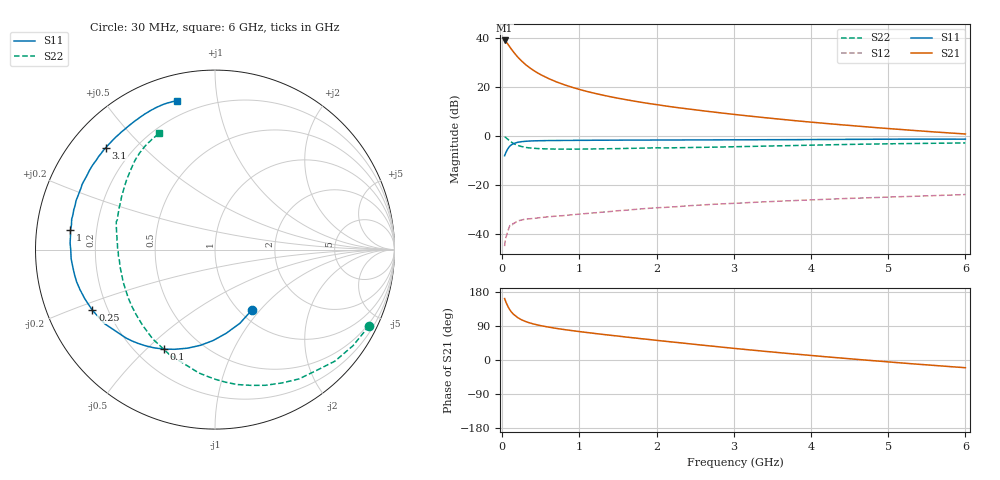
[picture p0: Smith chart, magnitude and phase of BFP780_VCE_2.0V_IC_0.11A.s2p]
! Infineon Technologies  Discrete & RF Semiconductors
! BFP780
! VCE =  2.0 V,  IC = 0.11 A
! Common Emitter S-Parameters:  Jul 2015
# GHz  S  MA  R  50
!  f  S11  S21  S12  S22
! GHz  MAG  ANG  MAG  ANG  MAG  ANG  MAG  ANG
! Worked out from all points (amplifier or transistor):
!   75 points, 30 MHz to 6 GHz, reference 50 ohm
!   highest |S21| = 38.8 dB at 30 MHz (marker M1)
!   |S21| within 3 dB of that: start of sweep to 105.7 MHz
!   unconditionally stable (mu >= 1): 1.686 GHz to end of sweep
!   at 150 MHz: K = 0.16, MSG = 34.8 dB, |S12| = -35.7 dB
!   at 2.3 GHz: K = 1.13, MAG = 17.9 dB, |S12| = -28.7 dB
!   at 6 GHz: K = 1.35, MAG = 8.8 dB, |S12| = -23.9 dB
!   S11 on the Smith chart (normalised r, x): 30 MHz: 1.13, -0.90; 100 MHz: 0.31, -0.57; 250 MHz: 0.14, -0.23; 1 GHz: 0.10, +0.07; 3.1 GHz: 0.11, +0.39; 6 GHz: 0.12, +0.77
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0.03  0.3945 -58.8  87.36 162.1  0.0057 72.5  0.958 -26.3
0.04  0.4333 -71.3  84.41 156.7  0.0079 65.6  0.9372 -34.8
0.05  0.4701 -82.3  81.28 151.4  0.0089 59.7  0.9126 -42.9
0.06  0.5068 -91.2  77.89 146.9  0.0099 57.4  0.8791 -50.0
0.08  0.5703 -105.6  70.7 138.6  0.0124 51.1  0.8311 -63.4
0.1  0.6225 -117.0  63.68 131.9  0.015 49.3  0.7827 -75.1
0.12  0.6602 -125.6  57.52 126.3  0.0158 43.9  0.7417 -85.3
0.15  0.699 -135.2  49.84 119.8  0.0165 39.4  0.6925 -97.6
0.2  0.7407 -146.1  40.14 111.8  0.0186 32.3  0.6379 -113.4
0.25  0.7623 -153.7  33.4 106.0  0.0194 29.2  0.6066 -124.9
0.3  0.7754 -159.3  28.35 101.7  0.0203 28.4  0.5836 -133.8
0.35  0.7848 -163.6  24.6 98.2  0.0205 25.9  0.5693 -140.6
0.5  0.7972 -172.2  17.52 90.6  0.0218 25.6  0.5475 -154.6
0.7  0.8035 -179.7  12.57 83.4  0.0233 25.5  0.5376 -165.8
1  0.8123 172.4  8.81 75.0  0.0256 27.6  0.5392 -176.1
1.1  0.8116 170.2  7.989 72.5  0.0264 27.8  0.5395 -178.9
1.5  0.8173 162.5  5.831 63.1  0.03 29.0  0.5506 172.7
2.1  0.8243 152.4  4.094 49.7  0.035 29.3  0.5691 163.1
3.1  0.8325 136.9  2.633 28.8  0.0431 25.9  0.6054 147.9
4.1  0.8424 123.2  1.844 10.2  0.0505 21.4  0.6511 135.5
5.1  0.8571 112.2  1.372 -6.6  0.0575 15.8  0.6924 125.0
6  0.8571 104.3  1.092 -20.4  0.0641 10.5  0.7186 115.5
